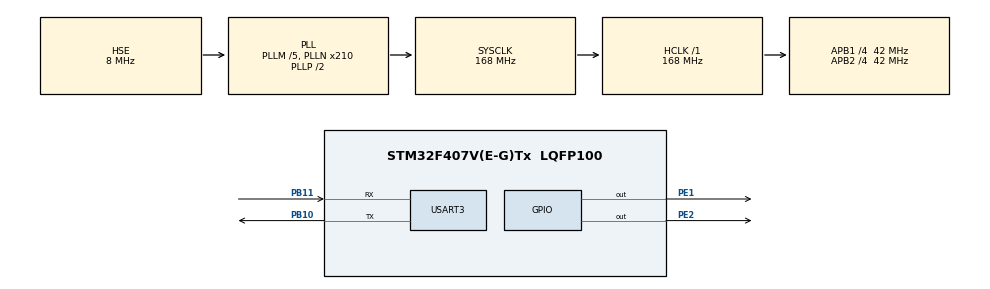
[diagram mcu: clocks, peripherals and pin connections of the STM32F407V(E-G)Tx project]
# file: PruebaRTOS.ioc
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Mcu.Family=STM32F4
Mcu.Name=STM32F407V(E-G)Tx
Mcu.Package=LQFP100
NVIC.PriorityGroup=NVIC_PRIORITYGROUP_4
NVIC.TIM6_DAC_IRQn=true\:15\:0\:false\:false\:true\:false\:true\:true
NVIC.TimeBase=TIM6_DAC_IRQn
NVIC.TimeBaseIP=TIM6
PB10.Mode=Asynchronous
PB10.Signal=USART3_TX
PB11.Mode=Asynchronous
PB11.Signal=USART3_RX
PE1.GPIO_ModeDefaultOutputPP=GPIO_MODE_OUTPUT_OD
PE1.GPIO_PuPd=GPIO_NOPULL
PE1.PinState=GPIO_PIN_SET
PE1.Signal=GPIO_Output
PE2.GPIO_ModeDefaultOutputPP=GPIO_MODE_OUTPUT_OD
PE2.GPIO_PuPd=GPIO_NOPULL
PE2.PinState=GPIO_PIN_SET
PE2.Signal=GPIO_Output
PH0-OSC_IN.Mode=HSE-External-Oscillator
PH0-OSC_IN.Signal=RCC_OSC_IN
PH1-OSC_OUT.Mode=HSE-External-Oscillator
PH1-OSC_OUT.Signal=RCC_OSC_OUT
ProjectManager.HeapSize=0x200
ProjectManager.StackSize=0x400
ProjectManager.TargetToolchain=STM32CubeIDE
RCC.48MHZClocksFreq_Value=84000000
RCC.AHBFreq_Value=168000000
RCC.APB1CLKDivider=RCC_HCLK_DIV4
RCC.APB1Freq_Value=42000000
RCC.APB1TimFreq_Value=84000000
RCC.APB2CLKDivider=RCC_HCLK_DIV4
RCC.APB2Freq_Value=42000000
RCC.APB2TimFreq_Value=84000000
RCC.CortexFreq_Value=168000000
RCC.HCLKFreq_Value=168000000
RCC.HSE_VALUE=8000000
RCC.HSI_VALUE=16000000
RCC.LSE_VALUE=32768
RCC.PLLM=5
RCC.PLLN=210
RCC.PLLSourceVirtual=RCC_PLLSOURCE_HSE
RCC.SYSCLKFreq_VALUE=168000000
RCC.SYSCLKSource=RCC_SYSCLKSOURCE_PLLCLK
RCC.VCOOutputFreq_Value=336000000
USART3.VirtualMode=VM_ASYNC
VP_SYS_VS_tim6.Mode=TIM6
board=custom

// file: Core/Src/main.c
/* USER CODE BEGIN Header */
/**
  ******************************************************************************
  * @file           : main.c
  * @brief          : Main program body
  ******************************************************************************
  * @attention
  *
  * Copyright (c) 2024 STMicroelectronics.
  * All rights reserved.
  *
  * This software is licensed under terms that can be found in the LICENSE file
  * in the root directory of this software component.
  * If no LICENSE file comes with this software, it is provided AS-IS.
  *
  ******************************************************************************
  */
/* USER CODE END Header */
#include "main.h"

/* USER CODE BEGIN Includes */
#include "stdio.h"
#include "string.h"
#include "FreeRTOS.h"
#include "task.h"
/* USER CODE END Includes */

UART_HandleTypeDef huart3;

/* USER CODE BEGIN PV */
int8_t status;
uint32_t counter = 0;

uint8_t Dato_Recibido[1];
char bufer[30];

/* USER CODE END PV */

void SystemClock_Config(void);
static void MX_GPIO_Init(void);
static void MX_USART3_UART_Init(void);
/* USER CODE BEGIN PFP */
static void led_task1(void *);
static void led_task2(void *);

/* USER CODE END PFP */

int main(void)
{

  /* MCU Configuration--------------------------------------------------------*/

  /* Reset of all peripherals, Initializes the Flash interface and the Systick. */
  HAL_Init();

  /* Configure the system clock */
  SystemClock_Config();

  /* Initialize all configured peripherals */
  MX_GPIO_Init();
  MX_USART3_UART_Init();
  /* USER CODE BEGIN 2 */
	//Led task
	status = xTaskCreate(led_task1, "LED", configMINIMAL_STACK_SIZE, NULL, tskIDLE_PRIORITY, NULL);
	if (status == pdPASS){
		sprintf(bufer, "task 1 successfully created \n\r");
		HAL_UART_Transmit(&huart3, (uint8_t*)bufer, (uint16_t)strlen(bufer), (uint32_t)100);
	}
	else{
		sprintf(bufer, "task 1 failed \n\r");
		HAL_UART_Transmit(&huart3, (uint8_t*)bufer, (uint16_t)strlen(bufer), (uint32_t)100);
	}

	status = xTaskCreate(led_task2, "HELLO", configMINIMAL_STACK_SIZE, NULL, tskIDLE_PRIORITY, NULL);
	if (status == pdPASS){
		sprintf(bufer, "task 2 successfully created \n\r");
		HAL_UART_Transmit(&huart3, (uint8_t*)bufer, (uint16_t)strlen(bufer), (uint32_t)100);
	}
	else{
		sprintf(bufer, "task 2 failed \n\r");
		HAL_UART_Transmit(&huart3, (uint8_t*)bufer, (uint16_t)strlen(bufer), (uint32_t)100);
	}

	vTaskStartScheduler();
  /* USER CODE END 2 */

  /* Infinite loop */
  while (1)
  {

  }
}

void SystemClock_Config(void)
{
  RCC_OscInitTypeDef RCC_OscInitStruct = {0};
  RCC_ClkInitTypeDef RCC_ClkInitStruct = {0};

  /** Configure the main internal regulator output voltage
  */
  __HAL_RCC_PWR_CLK_ENABLE();
  __HAL_PWR_VOLTAGESCALING_CONFIG(PWR_REGULATOR_VOLTAGE_SCALE1);

  /** Initializes the RCC Oscillators according to the specified parameters
  * in the RCC_OscInitTypeDef structure.
  */
  RCC_OscInitStruct.OscillatorType = RCC_OSCILLATORTYPE_HSE;
  RCC_OscInitStruct.HSEState = RCC_HSE_ON;
  RCC_OscInitStruct.PLL.PLLState = RCC_PLL_ON;
  RCC_OscInitStruct.PLL.PLLSource = RCC_PLLSOURCE_HSE;
  RCC_OscInitStruct.PLL.PLLM = 5;
  RCC_OscInitStruct.PLL.PLLN = 210;
  RCC_OscInitStruct.PLL.PLLP = RCC_PLLP_DIV2;
  RCC_OscInitStruct.PLL.PLLQ = 4;
  if (HAL_RCC_OscConfig(&RCC_OscInitStruct) != HAL_OK)
  {
    Error_Handler();
  }

  /** Initializes the CPU, AHB and APB buses clocks
  */
  RCC_ClkInitStruct.ClockType = RCC_CLOCKTYPE_HCLK|RCC_CLOCKTYPE_SYSCLK
                              |RCC_CLOCKTYPE_PCLK1|RCC_CLOCKTYPE_PCLK2;
  RCC_ClkInitStruct.SYSCLKSource = RCC_SYSCLKSOURCE_PLLCLK;
  RCC_ClkInitStruct.AHBCLKDivider = RCC_SYSCLK_DIV1;
  RCC_ClkInitStruct.APB1CLKDivider = RCC_HCLK_DIV4;
  RCC_ClkInitStruct.APB2CLKDivider = RCC_HCLK_DIV4;

  if (HAL_RCC_ClockConfig(&RCC_ClkInitStruct, FLASH_LATENCY_5) != HAL_OK)
  {
    Error_Handler();
  }
}

static void MX_USART3_UART_Init(void)
{

  huart3.Instance = USART3;
  huart3.Init.BaudRate = 115200;
  huart3.Init.WordLength = UART_WORDLENGTH_8B;
  huart3.Init.StopBits = UART_STOPBITS_1;
  huart3.Init.Parity = UART_PARITY_NONE;
  huart3.Init.Mode = UART_MODE_TX_RX;
  huart3.Init.HwFlowCtl = UART_HWCONTROL_NONE;
  huart3.Init.OverSampling = UART_OVERSAMPLING_16;
  if (HAL_UART_Init(&huart3) != HAL_OK)
  {
    Error_Handler();
  }

}

static void MX_GPIO_Init(void)
{
  GPIO_InitTypeDef GPIO_InitStruct = {0};

  /* GPIO Ports Clock Enable */
  __HAL_RCC_GPIOE_CLK_ENABLE();
  __HAL_RCC_GPIOH_CLK_ENABLE();
  __HAL_RCC_GPIOB_CLK_ENABLE();

  /*Configure GPIO pin Output Level */
  HAL_GPIO_WritePin(GPIOE, GPIO_PIN_2|GPIO_PIN_1, GPIO_PIN_SET);

  /*Configure GPIO pins : PE2 PE1 */
  GPIO_InitStruct.Pin = GPIO_PIN_2|GPIO_PIN_1;
  GPIO_InitStruct.Mode = GPIO_MODE_OUTPUT_OD;
  GPIO_InitStruct.Pull = GPIO_NOPULL;
  GPIO_InitStruct.Speed = GPIO_SPEED_FREQ_LOW;
  HAL_GPIO_Init(GPIOE, &GPIO_InitStruct);

}

/* USER CODE BEGIN 4 */
static void led_task1(void *pvParameters){
	while (1){
		sprintf(bufer, "Toggling blue light\n\r");
		HAL_UART_Transmit(&huart3, (uint8_t*)bufer, (uint16_t)strlen(bufer), (uint32_t)100);
		HAL_GPIO_TogglePin(GPIOE, GPIO_PIN_2);
		vTaskDelay(1000);
	}

}
static void led_task2(void *pvParameters){
	while(1){
		sprintf(bufer, "Toggling green light\n\r");
		HAL_UART_Transmit(&huart3, (uint8_t*)bufer, (uint16_t)strlen(bufer), (uint32_t)100);
		HAL_GPIO_TogglePin(GPIOE, GPIO_PIN_1);
		vTaskDelay(2000);
	}

}
/* USER CODE END 4 */

void HAL_TIM_PeriodElapsedCallback(TIM_HandleTypeDef *htim)
{
  if (htim->Instance == TIM6) {
    HAL_IncTick();
  }
}

void Error_Handler(void)
{
  __disable_irq();
  while (1)
  {
  }
}
